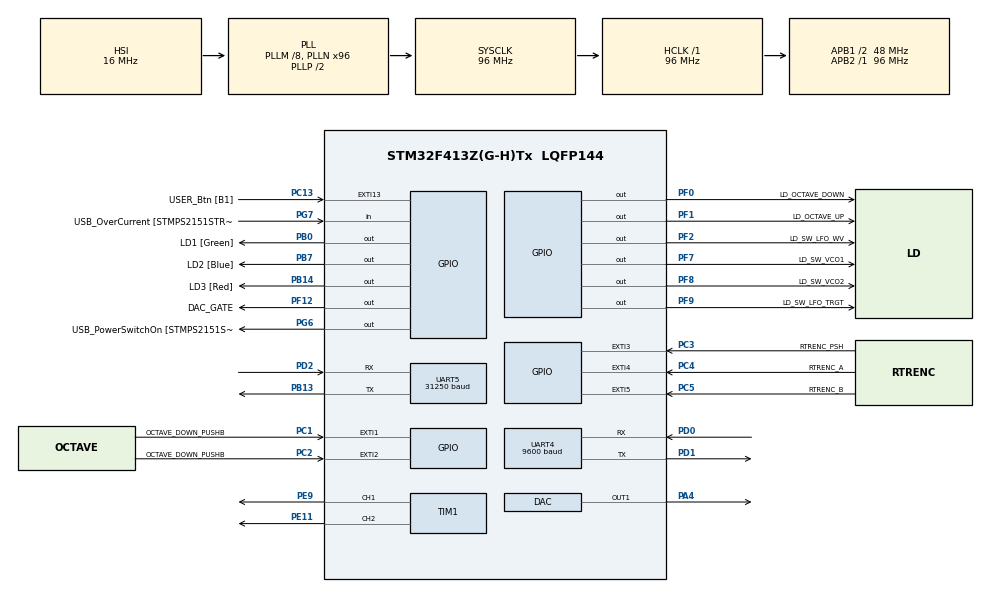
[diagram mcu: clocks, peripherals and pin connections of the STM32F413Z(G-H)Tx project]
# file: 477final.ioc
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Mcu.Family=STM32F4
Mcu.Name=STM32F413Z(G-H)Tx
Mcu.Package=LQFP144
NVIC.EXTI1_IRQn=true\:0\:0\:false\:false\:true\:true\:true
NVIC.EXTI2_IRQn=true\:0\:0\:false\:false\:true\:true\:true
NVIC.EXTI3_IRQn=true\:0\:0\:false\:false\:true\:true\:true
NVIC.EXTI4_IRQn=true\:0\:0\:false\:false\:true\:true\:true
NVIC.EXTI9_5_IRQn=true\:0\:0\:false\:false\:true\:true\:true
NVIC.PriorityGroup=NVIC_PRIORITYGROUP_4
NVIC.UART5_IRQn=true\:0\:0\:true\:false\:true\:true\:true
PA13.GPIO_Label=TMS
PA13.Mode=Serial_Wire
PA13.Signal=SYS_JTMS-SWDIO
PA14.GPIO_Label=TCK
PA14.Mode=Serial_Wire
PA14.Signal=SYS_JTCK-SWCLK
PA4.Signal=COMP_DAC1_group
PB0.GPIO_Label=LD1 [Green]
PB0.Signal=GPIO_Output
PB13.Mode=Asynchronous
PB13.Signal=UART5_TX
PB14.GPIO_Label=LD3 [Red]
PB14.Signal=GPIO_Output
PB7.GPIO_Label=LD2 [Blue]
PB7.Signal=GPIO_Output
PC1.GPIO_Label=OCTAVE_DOWN_PUSHB
PC1.GPIO_PuPd=GPIO_PULLUP
PC1.Signal=GPXTI1
PC13.GPIO_Label=USER_Btn [B1]
PC13.Signal=GPXTI13
PC2.GPIO_Label=OCTAVE_DOWN_PUSHB
PC2.GPIO_PuPd=GPIO_PULLUP
PC2.Signal=GPXTI2
PC3.GPIO_Label=RTRENC_PSH
PC3.GPIO_PuPd=GPIO_PULLUP
PC3.Signal=GPXTI3
PC4.GPIO_Label=RTRENC_A
PC4.GPIO_ModeDefaultEXTI=GPIO_MODE_IT_FALLING
PC4.GPIO_PuPd=GPIO_PULLUP
PC4.Signal=GPXTI4
PC5.GPIO_Label=RTRENC_B
PC5.GPIO_ModeDefaultEXTI=GPIO_MODE_IT_FALLING
PC5.GPIO_PuPd=GPIO_PULLUP
PC5.Signal=GPXTI5
PD0.Mode=Asynchronous
PD0.Signal=UART4_RX
PD1.Mode=Asynchronous
PD1.Signal=UART4_TX
PD2.Mode=Asynchronous
PD2.Signal=UART5_RX
PE11.Signal=S_TIM1_CH2
PE9.Signal=S_TIM1_CH1
PF0.GPIO_Label=LD_OCTAVE_DOWN
PF0.GPIO_PuPd=GPIO_NOPULL
PF0.PinState=GPIO_PIN_SET
PF0.Signal=GPIO_Output
PF1.GPIO_Label=LD_OCTAVE_UP
PF1.GPIO_PuPd=GPIO_NOPULL
PF1.PinState=GPIO_PIN_SET
PF1.Signal=GPIO_Output
PF12.GPIO_Label=DAC_GATE
PF12.GPIO_Speed=GPIO_SPEED_FREQ_HIGH
PF12.PinState=GPIO_PIN_SET
PF12.Signal=GPIO_Output
PF2.GPIO_Label=LD_SW_LFO_WV
PF2.PinState=GPIO_PIN_SET
PF2.Signal=GPIO_Output
PF7.GPIO_Label=LD_SW_VCO1
PF7.PinState=GPIO_PIN_SET
PF7.Signal=GPIO_Output
PF8.GPIO_Label=LD_SW_VCO2
PF8.PinState=GPIO_PIN_SET
PF8.Signal=GPIO_Output
PF9.GPIO_Label=LD_SW_LFO_TRGT
PF9.PinState=GPIO_PIN_SET
PF9.Signal=GPIO_Output
PG6.GPIO_Label=USB_PowerSwitchOn [STMPS2151STR_EN]
PG6.Signal=GPIO_Output
PG7.GPIO_Label=USB_OverCurrent [STMPS2151STR_FAULT]
PG7.Signal=GPIO_Input
ProjectManager.HeapSize=0x200
ProjectManager.StackSize=0x400
ProjectManager.TargetToolchain=STM32CubeIDE
RCC.AHBFreq_Value=96000000
RCC.APB1CLKDivider=RCC_HCLK_DIV2
RCC.APB1Freq_Value=48000000
RCC.APB1TimFreq_Value=96000000
RCC.APB2Freq_Value=96000000
RCC.APB2TimFreq_Value=96000000
RCC.CortexFreq_Value=96000000
RCC.HCLKFreq_Value=96000000
RCC.PLLM=8
RCC.PLLN=96
RCC.SYSCLKFreq_VALUE=96000000
RCC.SYSCLKSource=RCC_SYSCLKSOURCE_PLLCLK
RCC.USBFreq_Value=96000000
RCC.VCOOutputFreq_Value=192000000
SH.COMP_DAC1_group.0=DAC_OUT1,DAC_OUT1
SH.S_TIM1_CH1.0=TIM1_CH1,PWM Generation1 CH1
SH.S_TIM1_CH2.0=TIM1_CH2,PWM Generation2 CH2
TIM1.Channel-PWM\ Generation1\ CH1=TIM_CHANNEL_1
TIM1.Channel-PWM\ Generation2\ CH2=TIM_CHANNEL_2
UART4.BaudRate=9600
UART4.Mode=MODE_TX
UART4.VirtualMode=Asynchronous
UART5.BaudRate=31250
UART5.Mode=MODE_RX
UART5.VirtualMode=Asynchronous
VP_TIM1_VS_ClockSourceINT.Mode=Internal
board=NUCLEO-F413ZH

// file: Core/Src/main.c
/* USER CODE BEGIN Header */
/**
  ******************************************************************************
  * @file           : main.c
  * @brief          : Main program body
  ******************************************************************************
  * @attention
  *
  * <h2><center>&copy; Copyright (c) 2020 STMicroelectronics.
  * All rights reserved.</center></h2>
  *
  * This software component is licensed by ST under BSD 3-Clause license,
  * the "License"; You may not use this file except in compliance with the
  * License. You may obtain a copy of the License at:
  *                        opensource.org/licenses/BSD-3-Clause
  *
  ******************************************************************************
  */
/* USER CODE END Header */
#include "main.h"

/* USER CODE BEGIN Includes */
#include <string.h>
#include <stdio.h>
#include "lcd.h"
#include "visEffect.h"
#include <math.h>
/* USER CODE END Includes */

/* USER CODE BEGIN PD */
#define NUM_PRESETS 7
#define NUM_PARAMETERS 11
/* USER CODE END PD */

DAC_HandleTypeDef hdac;

TIM_HandleTypeDef htim1;

UART_HandleTypeDef huart4;
UART_HandleTypeDef huart5;

/* USER CODE BEGIN PV */

/* FLAGS */
int RTRENC_CCW_EVENT = 0;
int RTRENC_CW_EVENT = 0;
int RTRENC_PUSHB_EVENT = 0;
int MIDI_MESSAGE_RECEIVED_EVENT = 0;
int MIDI_CHECK_VELOCITY_FLAG = 0;

/* GLOBAL VARIABLES */
int CURRENT_PRESET = 1;
char MIDI_input = 0;
char MIDI_temp = 0;
unsigned int MIDI_current_note = 0;
int MIDI_octave_offset = 0;

/* PRESET VALUES */
const char *presetBank[NUM_PRESETS] = {"Grand Piano",
									   "Electric Guitar",
									   "Lead Synth",
									   "Heavy 808",
									   "Accordion",
									   "DAC_Test",
									   "LED_Test"
										};

const char parameterVals [NUM_PRESETS - 2][NUM_PARAMETERS + 5] = {
 {0, 1, 2, 2, 2, 1, 2, 3, 4, 5, 6, 7, 8, 9, 10, 0},
 {0, 1, 2, 2, 2, 6, 7, 8, 9, 10, 0, 1, 2, 3, 4, 5},
 {0, 1, 2, 2, 2, 1, 3, 5, 7, 9, 0, 2, 4, 6, 8, 10},
 {0, 1, 2, 2, 2, 0, 2, 4, 6, 8, 10, 1, 3, 5, 7, 9},
 {0, 1, 2, 2, 2, 3, 10, 5, 2, 7, 4, 1, 6, 0, 9, 8}
};

const char *parameterNames[NUM_PARAMETERS] = {"VCO 1 Frequency",
											  "VCO 1 Volume",
											  "VCO 2 Frequency",
											  "VCO 2 Volume",
											  "LFO Frequency",
											  "LFO Volume",
											  "Filter Cutoff",
											  "Attack",
											  "Decay",
											  "Sustain",
											  "Release"
};

/* USER CODE END PV */

void SystemClock_Config(void);
static void MX_GPIO_Init(void);
static void MX_UART4_Init(void);
static void MX_DAC_Init(void);
static void MX_TIM1_Init(void);
static void MX_UART5_Init(void);

/* USER CODE BEGIN 0 */

void updateMenuDisplay()
{
	char * buf[80] = {0};;
	sprintf(buf, "#%d\r%s\r\rPush knob to select.", CURRENT_PRESET, presetBank[CURRENT_PRESET - 1]);
	lcd_showMessage(buf, huart4);

}

void clockwise_menu_event()
{
	CURRENT_PRESET++;
	if (CURRENT_PRESET > NUM_PRESETS)
	{
		CURRENT_PRESET = 1;
	}
	updateMenuDisplay();
}

void anticlockwise_menu_event()
{
	CURRENT_PRESET--;
	if (CURRENT_PRESET < 1)
	{
		CURRENT_PRESET = NUM_PRESETS;
	}
	updateMenuDisplay();
}

void reset_rtrencFlags()
{
	RTRENC_CCW_EVENT = 0;
	RTRENC_CW_EVENT = 0;
	RTRENC_PUSHB_EVENT = 0;
}

void increase_octave()
{
	MIDI_octave_offset++;
}

void decrease_octave()
{
	MIDI_octave_offset--;
}

void LED_Test()
{
	lcd_showMessage("Welcome to the\rLED Test Mode!", huart4);
	HAL_Delay(1000);
	lcd_clear(huart4);

	int numLEDS = 0;
	char * buf[80] = {0};
	sprintf(buf, "Rotate knob to\rchange number\rof LEDs.");
	lcd_showMessage(buf, huart4);
	while (1)
	{
		if (RTRENC_CW_EVENT)
		{
			numLEDS++;
			if (numLEDS > 12)
			{
				numLEDS = 12;
			}
		}
		else if (RTRENC_CCW_EVENT)
		{
			numLEDS--;
			if (numLEDS < 0)
			{
				numLEDS = 0;
			}
		}
		updateRingLED(0, numLEDS);
		reset_rtrencFlags();
		HAL_Delay(80);
	}
}

void DAC_Test()
{
	lcd_showMessage("Welcome to the\rDAC Test Mode!", huart4);
	HAL_Delay(1000);
	lcd_clear(huart4);

	double adjustment = 0.3;

	double dac_vout = 0;
	int dac_write = 0;
	char * buf[80] = {0};
	sprintf(buf, "DAC V_out: %.2fV\r\rRotate knob to\radjust voltage.", dac_vout);
	lcd_showMessage(buf, huart4);
	while (1)
	{
		if (RTRENC_CW_EVENT)
		{
			dac_vout += adjustment;
			if (dac_vout > 3.3)
			{
				dac_vout = 3.3;
			}
			sprintf(buf, "DAC V_out: %.2fV\r\rRotate knob to\radjust voltage.", dac_vout);
			lcd_showMessage(buf, huart4);

			dac_write = (int) (dac_vout / (3.3/4095));
			if (dac_write == 4096)
				DAC->DHR12R1 = 4095;
			else
				DAC->DHR12R1 = dac_write;
			HAL_DAC_Start(&hdac, DAC_CHANNEL_1);
		}
		else if (RTRENC_CCW_EVENT)
		{
			dac_vout -= adjustment;
			if (dac_vout < 0)
			{
				dac_vout = 0;
			}
			sprintf(buf, "DAC V_out: %.2fV\r\rRotate knob to\radjust voltage.", dac_vout);
			lcd_showMessage(buf, huart4);

			dac_write = (int) (dac_vout / (3.3/4095));
			if (dac_write == 4096)
				DAC->DHR12R1 = 4095;
			else
				DAC->DHR12R1 = dac_write;
			HAL_DAC_Start(&hdac, DAC_CHANNEL_1);
		}
		reset_rtrencFlags();
		HAL_Delay(150);
	}
}

void Demo_Mode(int preset)
{
	int preset_ind = preset - 1;
	char * buf[80] = {0};
	char * switch_setting = NULL;

	MIDI_octave_offset = 0;
	reset_rtrencFlags();
	sprintf(buf, "Showing parameters\rfor %s\r\rPress knob to start.", presetBank[preset_ind]);
	lcd_showMessage(buf, huart4);
	while (!RTRENC_PUSHB_EVENT)
	{
		HAL_Delay(100);
	}
	reset_rtrencFlags();

	//step 1: octave switcher
	int octave_preset = parameterVals[preset_ind][0];
	if (octave_preset < 0)
	{
		sprintf(buf, "Decrease Octave\rto %d.\r\rPress knob to go on.", octave_preset);
	}
	else if (octave_preset > 0)
	{
		sprintf(buf, "Increase Octave\rto +%d.\r\rPress knob to go on.", octave_preset);
	}
	else
	{
		sprintf(buf, "Octave is already\rset to 0.\r\rPress knob to go on.");
	}
	lcd_showMessage(buf, huart4);

	while (!RTRENC_PUSHB_EVENT)
	{
		if (MIDI_octave_offset > octave_preset)
		{
			//blink decrease LED
			HAL_GPIO_WritePin(LD_OCTAVE_UP_GPIO_Port, LD_OCTAVE_UP_Pin, 0);
			HAL_GPIO_TogglePin(LD_OCTAVE_DOWN_GPIO_Port, LD_OCTAVE_DOWN_Pin);
		}
		else if (MIDI_octave_offset < octave_preset)
		{
			//blink increase LED
			HAL_GPIO_WritePin(LD_OCTAVE_DOWN_GPIO_Port, LD_OCTAVE_DOWN_Pin, 0);
			HAL_GPIO_TogglePin(LD_OCTAVE_UP_GPIO_Port, LD_OCTAVE_UP_Pin);
		}
		else
		{
			//both of them are on
			HAL_GPIO_WritePin(LD_OCTAVE_UP_GPIO_Port, LD_OCTAVE_UP_Pin, 1);
			HAL_GPIO_WritePin(LD_OCTAVE_DOWN_GPIO_Port, LD_OCTAVE_DOWN_Pin, 1);
		}
		HAL_Delay(600);
	}

	//step 2: switch LED for vco1
	switch (parameterVals[preset_ind][1])
	{
		case 1:
			switch_setting = "SAWTOOTH";
			break;
		case 2:
			switch_setting = "SQUARE";
			break;
		case 3:
			switch_setting = "TRIANGLE";
			break;
		default:
			switch_setting = "ERROR";
	}
	sprintf(buf, "Set the VCO 1\rWaveform switch to\routput a %s.\rPress knob to go on.", switch_setting);
	lcd_showMessage(buf, huart4);
	HAL_GPIO_WritePin(LD_SW_VCO1_GPIO_Port, LD_SW_VCO1_Pin, 1);
	reset_rtrencFlags();
	while (!RTRENC_PUSHB_EVENT)
	{
		HAL_Delay(100);
	}
	reset_rtrencFlags();
	HAL_GPIO_WritePin(LD_SW_VCO1_GPIO_Port, LD_SW_VCO1_Pin, 0);

	//step 3: switch LED for vco2
	switch (parameterVals[preset_ind][2])
	{
		case 1:
			switch_setting = "SAWTOOTH";
			break;
		case 2:
			switch_setting = "SQUARE";
			break;
		case 3:
			switch_setting = "TRIANGLE";
			break;
		default:
			switch_setting = "ERROR";
	}
	sprintf(buf, "Set the VCO 2\rWaveform switch to\routput a %s.\rPress knob to go on.", switch_setting);
	lcd_showMessage(buf, huart4);
	HAL_GPIO_WritePin(LD_SW_VCO2_GPIO_Port, LD_SW_VCO2_Pin, 1);
	reset_rtrencFlags();
	while (!RTRENC_PUSHB_EVENT)
	{
		HAL_Delay(100);
	}
	reset_rtrencFlags();
	HAL_GPIO_WritePin(LD_SW_VCO2_GPIO_Port, LD_SW_VCO2_Pin, 0);

	//step 4: switch LED for lfo waveform
	switch (parameterVals[preset_ind][3])
	{
		case 1:
			switch_setting = "SQUARE";
			break;
		case 2:
			switch_setting = "TRIANGLE";
			break;
		default:
			switch_setting = "ERROR";
	}
	sprintf(buf, "Set the LFO\rWaveform switch to\routput a %s.\rPress knob to go on.", switch_setting);
	lcd_showMessage(buf, huart4);
	HAL_GPIO_WritePin(LD_SW_LFO_WV_GPIO_Port, LD_SW_LFO_WV_Pin, 1);
	reset_rtrencFlags();
	while (!RTRENC_PUSHB_EVENT)
	{
		HAL_Delay(100);
	}
	reset_rtrencFlags();
	HAL_GPIO_WritePin(LD_SW_LFO_WV_GPIO_Port, LD_SW_LFO_WV_Pin, 0);

	//step 5: switch LED for lfo target
	switch (parameterVals[preset_ind][4])
	{
		case 1:
			switch_setting = "LFO";
			break;
		case 2:
			switch_setting = "VCO";
			break;
		default:
			switch_setting = "ERROR";
	}
	sprintf(buf, "Set the Target\rswitch to %s.\r\rPress knob to go on.", switch_setting);
	lcd_showMessage(buf, huart4);
	HAL_GPIO_WritePin(LD_SW_LFO_TRGT_GPIO_Port, LD_SW_LFO_TRGT_Pin, 1);
	reset_rtrencFlags();
	while (!RTRENC_PUSHB_EVENT)
	{
		HAL_Delay(100);
	}
	reset_rtrencFlags();
	HAL_GPIO_WritePin(LD_SW_LFO_TRGT_GPIO_Port, LD_SW_LFO_TRGT_Pin, 0);

	//step 6: all the mf neopixels

	for (int curParameter = 0; curParameter < NUM_PARAMETERS; curParameter++)
	{
		int parameterVal = parameterVals[preset_ind][curParameter + 5];
		sprintf(buf, "Set the\r%s\rknob to %d.\rPress knob to go on.", parameterNames[curParameter], parameterVal);
		lcd_showMessage(buf, huart4);
		if (parameterVal != 0)
		{
			flashLED(curParameter);
			HAL_Delay(600);
			flashLED(curParameter);
			HAL_Delay(600);
			for (int i = 1; i <= parameterVal; i++)
			{
				updateRingLED(curParameter, i);
				HAL_Delay(80);
			}
		}

		reset_rtrencFlags();
		while (!RTRENC_PUSHB_EVENT)
		{
			HAL_Delay(100);
			if (parameterVal == 0)
			{
				flashLED(curParameter);
				HAL_Delay(500);
			}
		}
		reset_rtrencFlags();
		clearLEDs();
	}

	//step 7: ta-da
	sprintf(buf, "Parameters for\r%s\rhave been set!\rPush knob to return.", presetBank[preset_ind]);
	lcd_showMessage(buf, huart4);
	reset_rtrencFlags();
	while (!RTRENC_PUSHB_EVENT)
	{
		HAL_Delay(100);
	}
	reset_rtrencFlags();
	MIDI_octave_offset = 0;
}

void updateDAC()
{
	char temp = MIDI_current_note + (12 * MIDI_octave_offset);
	if (temp == 0 || temp < 5 || temp > 76)
	{
		DAC->DHR12R1 = 0;
		//set gate low
		HAL_GPIO_WritePin(DAC_GATE_GPIO_Port, DAC_GATE_Pin, 0);
	}
	else
	{
		DAC->DHR12R1 = (int) (0.00039 * pow(temp, 4)) - (0.03641 * pow(temp, 3)) + (1.32121 * pow(temp, 2)) - (9.4721 * temp) + 34.89;
		//set gate high
		HAL_GPIO_WritePin(DAC_GATE_GPIO_Port, DAC_GATE_Pin, 1);
	}
}

void HAL_UART_RxCpltCallback(UART_HandleTypeDef *huart)
{
	if (MIDI_input == 0xFE)
	{

	}
	else if (MIDI_input == 0x90)
	{
		MIDI_MESSAGE_RECEIVED_EVENT = 1;
	}
	else if (MIDI_CHECK_VELOCITY_FLAG)
	{
		if (!MIDI_input && (MIDI_temp == MIDI_current_note))
		{
			MIDI_current_note = 0;
		}
		MIDI_CHECK_VELOCITY_FLAG = 0;
		MIDI_MESSAGE_RECEIVED_EVENT = 0;
		//change DAC routine
		updateDAC();
	}
	else if (MIDI_MESSAGE_RECEIVED_EVENT)
	{
		MIDI_temp = MIDI_input;
		if (!MIDI_current_note)
		{
			MIDI_current_note = MIDI_input;
		}
		MIDI_CHECK_VELOCITY_FLAG = 1;
	}

	HAL_UART_Receive_IT(&huart5, &MIDI_input, 1);
}

/* USER CODE END 0 */

int main(void)
{

  /* MCU Configuration--------------------------------------------------------*/

  /* Reset of all peripherals, Initializes the Flash interface and the Systick. */
  HAL_Init();

  /* Configure the system clock */
  SystemClock_Config();

  /* Initialize all configured peripherals */
  MX_GPIO_Init();
  MX_UART4_Init();
  MX_DAC_Init();
  MX_TIM1_Init();
  MX_UART5_Init();
  /* USER CODE BEGIN 2 */
  HAL_Delay(800);
  lcd_changeColor('w', huart4);

  /* USER CODE END 2 */

  /* Infinite loop */
  /* USER CODE BEGIN WHILE */
  lcd_clear(huart4);
  updateMenuDisplay();
  visInit();
  clearLEDs();
  HAL_Delay(150);
  updateRingLED(0, 0);
  HAL_DAC_Start(&hdac, DAC_CHANNEL_1);
  DAC->DHR12R1=0;
  HAL_UART_Receive_IT(&huart5, &MIDI_input, 1);

  while (1)
  {
	  if (RTRENC_CW_EVENT)
	  {
	 	 clockwise_menu_event();
	  }
	  else if (RTRENC_CCW_EVENT)
	  {
	  	 anticlockwise_menu_event();
	  }
	  else if (CURRENT_PRESET == 6 && RTRENC_PUSHB_EVENT)
	  {
		 DAC_Test();
	  }
	  else if (CURRENT_PRESET == 7 && RTRENC_PUSHB_EVENT)
	  {
		  LED_Test();
	  }
	  else if (RTRENC_PUSHB_EVENT)
	  {
		  //demo mode bb
		  Demo_Mode(CURRENT_PRESET);
		  updateMenuDisplay();
	  }

	  reset_rtrencFlags();

    /* USER CODE END WHILE */

    /* USER CODE BEGIN 3 */
	  HAL_Delay(130);
  }
  /* USER CODE END 3 */
}

void SystemClock_Config(void)
{
  RCC_OscInitTypeDef RCC_OscInitStruct = {0};
  RCC_ClkInitTypeDef RCC_ClkInitStruct = {0};

  /** Configure the main internal regulator output voltage
  */
  __HAL_RCC_PWR_CLK_ENABLE();
  __HAL_PWR_VOLTAGESCALING_CONFIG(PWR_REGULATOR_VOLTAGE_SCALE1);
  /** Initializes the RCC Oscillators according to the specified parameters
  * in the RCC_OscInitTypeDef structure.
  */
  RCC_OscInitStruct.OscillatorType = RCC_OSCILLATORTYPE_HSI;
  RCC_OscInitStruct.HSIState = RCC_HSI_ON;
  RCC_OscInitStruct.HSICalibrationValue = RCC_HSICALIBRATION_DEFAULT;
  RCC_OscInitStruct.PLL.PLLState = RCC_PLL_ON;
  RCC_OscInitStruct.PLL.PLLSource = RCC_PLLSOURCE_HSI;
  RCC_OscInitStruct.PLL.PLLM = 8;
  RCC_OscInitStruct.PLL.PLLN = 96;
  RCC_OscInitStruct.PLL.PLLP = RCC_PLLP_DIV2;
  RCC_OscInitStruct.PLL.PLLQ = 2;
  RCC_OscInitStruct.PLL.PLLR = 2;
  if (HAL_RCC_OscConfig(&RCC_OscInitStruct) != HAL_OK)
  {
    Error_Handler();
  }
  /** Initializes the CPU, AHB and APB buses clocks
  */
  RCC_ClkInitStruct.ClockType = RCC_CLOCKTYPE_HCLK|RCC_CLOCKTYPE_SYSCLK
                              |RCC_CLOCKTYPE_PCLK1|RCC_CLOCKTYPE_PCLK2;
  RCC_ClkInitStruct.SYSCLKSource = RCC_SYSCLKSOURCE_PLLCLK;
  RCC_ClkInitStruct.AHBCLKDivider = RCC_SYSCLK_DIV1;
  RCC_ClkInitStruct.APB1CLKDivider = RCC_HCLK_DIV2;
  RCC_ClkInitStruct.APB2CLKDivider = RCC_HCLK_DIV1;

  if (HAL_RCC_ClockConfig(&RCC_ClkInitStruct, FLASH_LATENCY_3) != HAL_OK)
  {
    Error_Handler();
  }
}

static void MX_DAC_Init(void)
{

  DAC_ChannelConfTypeDef sConfig = {0};

  /** DAC Initialization
  */
  hdac.Instance = DAC;
  if (HAL_DAC_Init(&hdac) != HAL_OK)
  {
    Error_Handler();
  }
  /** DAC channel OUT1 config
  */
  sConfig.DAC_Trigger = DAC_TRIGGER_NONE;
  sConfig.DAC_OutputBuffer = DAC_OUTPUTBUFFER_ENABLE;
  if (HAL_DAC_ConfigChannel(&hdac, &sConfig, DAC_CHANNEL_1) != HAL_OK)
  {
    Error_Handler();
  }

}

static void MX_TIM1_Init(void)
{

  TIM_ClockConfigTypeDef sClockSourceConfig = {0};
  TIM_MasterConfigTypeDef sMasterConfig = {0};
  TIM_OC_InitTypeDef sConfigOC = {0};
  TIM_BreakDeadTimeConfigTypeDef sBreakDeadTimeConfig = {0};

  htim1.Instance = TIM1;
  htim1.Init.Prescaler = 0;
  htim1.Init.CounterMode = TIM_COUNTERMODE_UP;
  htim1.Init.Period = 65535;
  htim1.Init.ClockDivision = TIM_CLOCKDIVISION_DIV1;
  htim1.Init.RepetitionCounter = 0;
  htim1.Init.AutoReloadPreload = TIM_AUTORELOAD_PRELOAD_DISABLE;
  if (HAL_TIM_Base_Init(&htim1) != HAL_OK)
  {
    Error_Handler();
  }
  sClockSourceConfig.ClockSource = TIM_CLOCKSOURCE_INTERNAL;
  if (HAL_TIM_ConfigClockSource(&htim1, &sClockSourceConfig) != HAL_OK)
  {
    Error_Handler();
  }
  if (HAL_TIM_PWM_Init(&htim1) != HAL_OK)
  {
    Error_Handler();
  }
  sMasterConfig.MasterOutputTrigger = TIM_TRGO_RESET;
  sMasterConfig.MasterSlaveMode = TIM_MASTERSLAVEMODE_DISABLE;
  if (HAL_TIMEx_MasterConfigSynchronization(&htim1, &sMasterConfig) != HAL_OK)
  {
    Error_Handler();
  }
  sConfigOC.OCMode = TIM_OCMODE_PWM1;
  sConfigOC.Pulse = 0;
  sConfigOC.OCPolarity = TIM_OCPOLARITY_HIGH;
  sConfigOC.OCNPolarity = TIM_OCNPOLARITY_HIGH;
  sConfigOC.OCFastMode = TIM_OCFAST_DISABLE;
  sConfigOC.OCIdleState = TIM_OCIDLESTATE_RESET;
  sConfigOC.OCNIdleState = TIM_OCNIDLESTATE_RESET;
  if (HAL_TIM_PWM_ConfigChannel(&htim1, &sConfigOC, TIM_CHANNEL_1) != HAL_OK)
  {
    Error_Handler();
  }
  if (HAL_TIM_PWM_ConfigChannel(&htim1, &sConfigOC, TIM_CHANNEL_2) != HAL_OK)
  {
    Error_Handler();
  }
  sBreakDeadTimeConfig.OffStateRunMode = TIM_OSSR_DISABLE;
  sBreakDeadTimeConfig.OffStateIDLEMode = TIM_OSSI_DISABLE;
  sBreakDeadTimeConfig.LockLevel = TIM_LOCKLEVEL_OFF;
  sBreakDeadTimeConfig.DeadTime = 0;
  sBreakDeadTimeConfig.BreakState = TIM_BREAK_DISABLE;
  sBreakDeadTimeConfig.BreakPolarity = TIM_BREAKPOLARITY_HIGH;
  sBreakDeadTimeConfig.AutomaticOutput = TIM_AUTOMATICOUTPUT_DISABLE;
  if (HAL_TIMEx_ConfigBreakDeadTime(&htim1, &sBreakDeadTimeConfig) != HAL_OK)
  {
    Error_Handler();
  }
  HAL_TIM_MspPostInit(&htim1);

}

static void MX_UART4_Init(void)
{

  huart4.Instance = UART4;
  huart4.Init.BaudRate = 9600;
  huart4.Init.WordLength = UART_WORDLENGTH_8B;
  huart4.Init.StopBits = UART_STOPBITS_1;
  huart4.Init.Parity = UART_PARITY_NONE;
  huart4.Init.Mode = UART_MODE_TX;
  huart4.Init.HwFlowCtl = UART_HWCONTROL_NONE;
  huart4.Init.OverSampling = UART_OVERSAMPLING_16;
  if (HAL_UART_Init(&huart4) != HAL_OK)
  {
    Error_Handler();
  }

}

static void MX_UART5_Init(void)
{

  huart5.Instance = UART5;
  huart5.Init.BaudRate = 31250;
  huart5.Init.WordLength = UART_WORDLENGTH_8B;
  huart5.Init.StopBits = UART_STOPBITS_1;
  huart5.Init.Parity = UART_PARITY_NONE;
  huart5.Init.Mode = UART_MODE_RX;
  huart5.Init.HwFlowCtl = UART_HWCONTROL_NONE;
  huart5.Init.OverSampling = UART_OVERSAMPLING_16;
  if (HAL_UART_Init(&huart5) != HAL_OK)
  {
    Error_Handler();
  }

}

static void MX_GPIO_Init(void)
{
  GPIO_InitTypeDef GPIO_InitStruct = {0};

  /* GPIO Ports Clock Enable */
  __HAL_RCC_GPIOC_CLK_ENABLE();
  __HAL_RCC_GPIOF_CLK_ENABLE();
  __HAL_RCC_GPIOA_CLK_ENABLE();
  __HAL_RCC_GPIOB_CLK_ENABLE();
  __HAL_RCC_GPIOE_CLK_ENABLE();
  __HAL_RCC_GPIOG_CLK_ENABLE();
  __HAL_RCC_GPIOD_CLK_ENABLE();

  /*Configure GPIO pin Output Level */
  HAL_GPIO_WritePin(GPIOF, LD_OCTAVE_DOWN_Pin|LD_OCTAVE_UP_Pin|LD_SW_LFO_WV_Pin|LD_SW_VCO1_Pin
                          |LD_SW_VCO2_Pin|LD_SW_LFO_TRGT_Pin|DAC_GATE_Pin, GPIO_PIN_SET);

  /*Configure GPIO pin Output Level */
  HAL_GPIO_WritePin(GPIOB, LD1_Pin|LD3_Pin|LD2_Pin, GPIO_PIN_RESET);

  /*Configure GPIO pin Output Level */
  HAL_GPIO_WritePin(USB_PowerSwitchOn_GPIO_Port, USB_PowerSwitchOn_Pin, GPIO_PIN_RESET);

  /*Configure GPIO pin : USER_Btn_Pin */
  GPIO_InitStruct.Pin = USER_Btn_Pin;
  GPIO_InitStruct.Mode = GPIO_MODE_IT_RISING;
  GPIO_InitStruct.Pull = GPIO_NOPULL;
  HAL_GPIO_Init(USER_Btn_GPIO_Port, &GPIO_InitStruct);

  /*Configure GPIO pins : LD_OCTAVE_DOWN_Pin LD_OCTAVE_UP_Pin LD_SW_LFO_WV_Pin LD_SW_VCO1_Pin
                           LD_SW_VCO2_Pin LD_SW_LFO_TRGT_Pin */
  GPIO_InitStruct.Pin = LD_OCTAVE_DOWN_Pin|LD_OCTAVE_UP_Pin|LD_SW_LFO_WV_Pin|LD_SW_VCO1_Pin
                          |LD_SW_VCO2_Pin|LD_SW_LFO_TRGT_Pin;
  GPIO_InitStruct.Mode = GPIO_MODE_OUTPUT_PP;
  GPIO_InitStruct.Pull = GPIO_NOPULL;
  GPIO_InitStruct.Speed = GPIO_SPEED_FREQ_LOW;
  HAL_GPIO_Init(GPIOF, &GPIO_InitStruct);

  /*Configure GPIO pins : OCTAVE_DOWN_PUSHB_Pin OCTAVE_DOWN_PUSHBC2_Pin RTRENC_PSH_Pin */
  GPIO_InitStruct.Pin = OCTAVE_DOWN_PUSHB_Pin|OCTAVE_DOWN_PUSHBC2_Pin|RTRENC_PSH_Pin;
  GPIO_InitStruct.Mode = GPIO_MODE_IT_RISING;
  GPIO_InitStruct.Pull = GPIO_PULLUP;
  HAL_GPIO_Init(GPIOC, &GPIO_InitStruct);

  /*Configure GPIO pins : RTRENC_A_Pin RTRENC_B_Pin */
  GPIO_InitStruct.Pin = RTRENC_A_Pin|RTRENC_B_Pin;
  GPIO_InitStruct.Mode = GPIO_MODE_IT_FALLING;
  GPIO_InitStruct.Pull = GPIO_PULLUP;
  HAL_GPIO_Init(GPIOC, &GPIO_InitStruct);

  /*Configure GPIO pins : LD1_Pin LD3_Pin LD2_Pin */
  GPIO_InitStruct.Pin = LD1_Pin|LD3_Pin|LD2_Pin;
  GPIO_InitStruct.Mode = GPIO_MODE_OUTPUT_PP;
  GPIO_InitStruct.Pull = GPIO_NOPULL;
  GPIO_InitStruct.Speed = GPIO_SPEED_FREQ_LOW;
  HAL_GPIO_Init(GPIOB, &GPIO_InitStruct);

  /*Configure GPIO pin : DAC_GATE_Pin */
  GPIO_InitStruct.Pin = DAC_GATE_Pin;
  GPIO_InitStruct.Mode = GPIO_MODE_OUTPUT_PP;
  GPIO_InitStruct.Pull = GPIO_NOPULL;
  GPIO_InitStruct.Speed = GPIO_SPEED_FREQ_HIGH;
  HAL_GPIO_Init(DAC_GATE_GPIO_Port, &GPIO_InitStruct);

  /*Configure GPIO pin : USB_PowerSwitchOn_Pin */
  GPIO_InitStruct.Pin = USB_PowerSwitchOn_Pin;
  GPIO_InitStruct.Mode = GPIO_MODE_OUTPUT_PP;
  GPIO_InitStruct.Pull = GPIO_NOPULL;
  GPIO_InitStruct.Speed = GPIO_SPEED_FREQ_LOW;
  HAL_GPIO_Init(USB_PowerSwitchOn_GPIO_Port, &GPIO_InitStruct);

  /*Configure GPIO pin : USB_OverCurrent_Pin */
  GPIO_InitStruct.Pin = USB_OverCurrent_Pin;
  GPIO_InitStruct.Mode = GPIO_MODE_INPUT;
  GPIO_InitStruct.Pull = GPIO_NOPULL;
  HAL_GPIO_Init(USB_OverCurrent_GPIO_Port, &GPIO_InitStruct);

  /* EXTI interrupt init*/
  HAL_NVIC_SetPriority(EXTI1_IRQn, 0, 0);
  HAL_NVIC_EnableIRQ(EXTI1_IRQn);

  HAL_NVIC_SetPriority(EXTI2_IRQn, 0, 0);
  HAL_NVIC_EnableIRQ(EXTI2_IRQn);

  HAL_NVIC_SetPriority(EXTI3_IRQn, 0, 0);
  HAL_NVIC_EnableIRQ(EXTI3_IRQn);

  HAL_NVIC_SetPriority(EXTI4_IRQn, 0, 0);
  HAL_NVIC_EnableIRQ(EXTI4_IRQn);

  HAL_NVIC_SetPriority(EXTI9_5_IRQn, 0, 0);
  HAL_NVIC_EnableIRQ(EXTI9_5_IRQn);

}

void Error_Handler(void)
{
}

/************************ (C) COPYRIGHT STMicroelectronics *****END OF FILE****/
